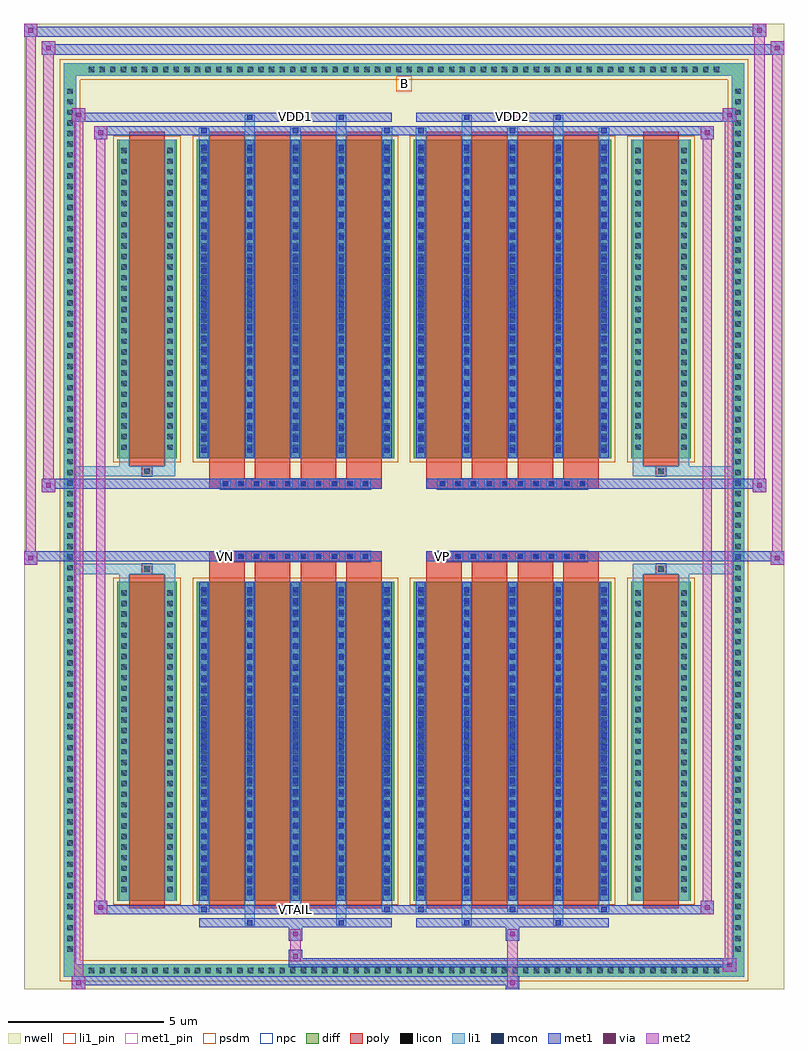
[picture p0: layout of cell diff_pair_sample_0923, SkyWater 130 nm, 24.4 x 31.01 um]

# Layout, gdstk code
import gdstk
lib = gdstk.Library(unit=1e-6, precision=5e-09)
def R(c, l, rs):  # rectangles x0, y0, x1, y1
    for r in rs: c.add(gdstk.rectangle(r[:2], r[2:], *l))
def A(c, l, x, y, w, h, nx, ny, dx, dy):  # array of equal rectangles
    R(c, l, [(x+i*dx, y+j*dy, x+i*dx+w, y+j*dy+h) for i in range(nx) for j in range(ny)])
def P(c, l, *ps):  # polygons
    for p in ps: c.add(gdstk.Polygon(p, *l))
nwell = (64, 20)
diff = (65, 20)
poly = (66, 20)
licon = (66, 44)
li1_pin = (67, 16)
li1 = (67, 20)
mcon = (67, 44)
met1_pin = (68, 16)
met1 = (68, 20)
via = (68, 44)
met2 = (69, 20)
psdm = (94, 20)
npc = (95, 20)

diff_pair_sample_0923 = lib.new_cell('diff_pair_sample_0923')
R(diff_pair_sample_0923, nwell, [(-12.2,-15.07,12.2,15.94), (-9.52,-13.26,-0.01,-0.8), (0.01,-13.26,9.52,-0.8), (-9.52,0.8,-0.01,13.26), (0.01,0.8,9.52,13.26)])
A(diff_pair_sample_0923, diff, -10.235, -14.67, 0.41, 0.41, 60, 2, 0.34, 28.93)
A(diff_pair_sample_0923, diff, -10.93, -13.975, 0.41, 0.41, 1, 82, 0, 0.34)
A(diff_pair_sample_0923, diff, 10.52, -13.975, 0.41, 0.41, 1, 82, 0, 0.34)
R(diff_pair_sample_0923, diff, [(-10.235,-14.67,10.235,-14.26), (-10.93,-13.975,-10.52,13.975), (10.52,-13.975,10.93,13.975), (-9.21,-12.215,-7.29,-1.985), (-6.65,-12.215,-0.32,-1.985), (0.32,-12.215,6.65,-1.985), (7.29,-12.215,9.21,-1.985), (-9.21,1.985,-7.29,12.215), (-6.65,1.985,-0.32,12.215), (0.32,1.985,6.65,12.215), (7.29,1.985,9.21,12.215), (-10.235,14.26,10.235,14.67)])
P(diff_pair_sample_0923, diff, [(10.93,14.67),(-10.93,14.67),(-10.93,-14.26),(-10.52,-14.26),(-10.52,14.26),(10.52,14.26),(10.52,-14.26),(-10.52,-14.26),(-10.93,-14.26),(-10.93,-14.67),(10.93,-14.67)])
A(diff_pair_sample_0923, poly, -6.26, -12.465, 1.14, 10.73, 4, 2, 1.47, 14.2)
A(diff_pair_sample_0923, poly, 0.71, -12.465, 1.14, 10.73, 4, 2, 1.47, 14.2)
A(diff_pair_sample_0923, poly, -6.26, -1.735, 1.14, 0.405, 4, 2, 1.47, 3.065)
A(diff_pair_sample_0923, poly, 0.71, -1.735, 1.14, 0.405, 4, 2, 1.47, 3.065)
A(diff_pair_sample_0923, poly, -5.9, -1.33, 0.33, 0.33, 10, 2, 0.5, 2.33)
A(diff_pair_sample_0923, poly, 1.07, -1.33, 0.33, 0.33, 10, 2, 0.5, 2.33)
R(diff_pair_sample_0923, poly, [(-8.82,-12.465,-7.68,-1.735), (7.68,-12.465,8.82,-1.735), (-8.415,-1.735,-8.085,-1.405), (-8.415,-1.735,-8.085,-1.405), (8.085,-1.735,8.415,-1.405), (8.085,-1.735,8.415,-1.405), (-6.26,-1.33,-0.71,-1), (0.71,-1.33,6.26,-1), (-6.26,1,-0.71,1.33), (0.71,1,6.26,1.33), (-8.415,1.405,-8.085,1.735), (-8.415,1.405,-8.085,1.735), (8.085,1.405,8.415,1.735), (8.085,1.405,8.415,1.735), (-8.82,1.735,-7.68,12.465), (7.68,1.735,8.82,12.465)])
A(diff_pair_sample_0923, licon, -10.115, -14.55, 0.17, 0.17, 60, 2, 0.34, 28.93)
A(diff_pair_sample_0923, licon, -10.81, -13.855, 0.17, 0.17, 1, 82, 0, 0.34)
A(diff_pair_sample_0923, licon, 10.64, -13.855, 0.17, 0.17, 1, 82, 0, 0.34)
A(diff_pair_sample_0923, licon, -9.07, -11.945, 0.17, 0.17, 1, 29, 0, 0.34)
A(diff_pair_sample_0923, licon, -7.6, -11.945, 0.17, 0.17, 1, 29, 0, 0.34)
A(diff_pair_sample_0923, licon, -6.51, -11.945, 0.17, 0.17, 5, 29, 1.47, 0.34)
A(diff_pair_sample_0923, licon, 0.46, -11.945, 0.17, 0.17, 5, 29, 1.47, 0.34)
A(diff_pair_sample_0923, licon, 7.43, -11.945, 0.17, 0.17, 1, 29, 0, 0.34)
A(diff_pair_sample_0923, licon, 8.9, -11.945, 0.17, 0.17, 1, 29, 0, 0.34)
A(diff_pair_sample_0923, licon, -5.82, -1.25, 0.17, 0.17, 10, 2, 0.5, 2.33)
A(diff_pair_sample_0923, licon, 1.15, -1.25, 0.17, 0.17, 10, 2, 0.5, 2.33)
A(diff_pair_sample_0923, licon, -9.07, 2.255, 0.17, 0.17, 1, 29, 0, 0.34)
A(diff_pair_sample_0923, licon, -7.6, 2.255, 0.17, 0.17, 1, 29, 0, 0.34)
A(diff_pair_sample_0923, licon, -6.51, 2.255, 0.17, 0.17, 5, 29, 1.47, 0.34)
A(diff_pair_sample_0923, licon, 0.46, 2.255, 0.17, 0.17, 5, 29, 1.47, 0.34)
A(diff_pair_sample_0923, licon, 7.43, 2.255, 0.17, 0.17, 1, 29, 0, 0.34)
A(diff_pair_sample_0923, licon, 8.9, 2.255, 0.17, 0.17, 1, 29, 0, 0.34)
R(diff_pair_sample_0923, licon, [(-8.335,-1.655,-8.165,-1.485), (8.165,-1.655,8.335,-1.485), (-8.335,1.485,-8.165,1.655), (8.165,1.485,8.335,1.655)])
R(diff_pair_sample_0923, li1_pin, [(-0.25,13.76,0.25,14.26)])
A(diff_pair_sample_0923, li1, -10.195, -14.63, 0.33, 0.33, 60, 2, 0.34, 28.93)
A(diff_pair_sample_0923, li1, -10.89, -13.935, 0.33, 0.33, 1, 82, 0, 0.34)
A(diff_pair_sample_0923, li1, 10.56, -13.935, 0.33, 0.33, 1, 82, 0, 0.34)
A(diff_pair_sample_0923, li1, -6.59, -12.59, 0.33, 0.375, 3, 2, 2.94, 24.805)
A(diff_pair_sample_0923, li1, -6.51, -12.59, 0.17, 0.17, 3, 2, 2.94, 25.01)
A(diff_pair_sample_0923, li1, 0.38, -12.59, 0.33, 0.375, 3, 2, 2.94, 24.805)
A(diff_pair_sample_0923, li1, 0.46, -12.59, 0.17, 0.17, 3, 2, 2.94, 25.01)
A(diff_pair_sample_0923, li1, -6.59, -12.215, 0.33, 10.23, 5, 2, 1.47, 14.2)
A(diff_pair_sample_0923, li1, 0.38, -12.215, 0.33, 10.23, 5, 2, 1.47, 14.2)
A(diff_pair_sample_0923, li1, -6.51, -12.045, 0.17, 0.17, 5, 28, 1.47, 0.36)
A(diff_pair_sample_0923, li1, -6.51, -12.045, 0.17, 9.89, 5, 2, 1.47, 14.2)
A(diff_pair_sample_0923, li1, 0.46, -12.045, 0.17, 0.17, 5, 28, 1.47, 0.36)
A(diff_pair_sample_0923, li1, 0.46, -12.045, 0.17, 9.89, 5, 2, 1.47, 14.2)
A(diff_pair_sample_0923, li1, -9.15, -12.025, 0.33, 0.33, 1, 29, 0, 0.34)
A(diff_pair_sample_0923, li1, -7.68, -12.025, 0.33, 0.33, 1, 29, 0, 0.34)
A(diff_pair_sample_0923, li1, -6.59, -12.025, 0.33, 0.33, 5, 29, 1.47, 0.34)
A(diff_pair_sample_0923, li1, 0.38, -12.025, 0.33, 0.33, 5, 29, 1.47, 0.34)
A(diff_pair_sample_0923, li1, 7.35, -12.025, 0.33, 0.33, 1, 29, 0, 0.34)
A(diff_pair_sample_0923, li1, 8.82, -12.025, 0.33, 0.33, 1, 29, 0, 0.34)
A(diff_pair_sample_0923, li1, -5.9, -1.33, 0.33, 0.33, 10, 2, 0.5, 2.33)
A(diff_pair_sample_0923, li1, 1.07, -1.33, 0.33, 0.33, 10, 2, 0.5, 2.33)
A(diff_pair_sample_0923, li1, -6.51, 2.155, 0.17, 0.17, 5, 28, 1.47, 0.36)
A(diff_pair_sample_0923, li1, 0.46, 2.155, 0.17, 0.17, 5, 28, 1.47, 0.36)
A(diff_pair_sample_0923, li1, -9.15, 2.175, 0.33, 0.33, 1, 29, 0, 0.34)
A(diff_pair_sample_0923, li1, -7.68, 2.175, 0.33, 0.33, 1, 29, 0, 0.34)
A(diff_pair_sample_0923, li1, -6.59, 2.175, 0.33, 0.33, 5, 29, 1.47, 0.34)
A(diff_pair_sample_0923, li1, 0.38, 2.175, 0.33, 0.33, 5, 29, 1.47, 0.34)
A(diff_pair_sample_0923, li1, 7.35, 2.175, 0.33, 0.33, 1, 29, 0, 0.34)
A(diff_pair_sample_0923, li1, 8.82, 2.175, 0.33, 0.33, 1, 29, 0, 0.34)
R(diff_pair_sample_0923, li1, [(-10.93,-14.67,-10.52,-14.26), (-10.93,-14.67,-10.52,-14.26), (-10.52,-14.67,10.52,-14.26), (10.52,-14.67,10.93,-14.26), (10.52,-14.67,10.93,-14.26), (-10.93,-14.26,-10.52,14.26), (10.52,-14.26,10.93,14.26), (-5.12,-13.02,-4.79,-12.215), (-5.04,-13.02,-4.87,-12.85), (-2.18,-13.02,-1.85,-12.215), (-2.1,-13.02,-1.93,-12.85), (1.85,-13.02,2.18,-12.215), (1.93,-13.02,2.1,-12.85), (4.79,-13.02,5.12,-12.215), (4.87,-13.02,5.04,-12.85), (-9.15,-12.215,-8.82,-1.985), (-7.68,-12.215,-7.35,-1.985), (7.35,-12.215,7.68,-1.985), (8.82,-12.215,9.15,-1.985), (-9.15,-1.985,-8.82,-1.405), (-7.68,-1.985,-7.35,-1.405), (7.35,-1.985,7.68,-1.405), (8.82,-1.985,9.15,-1.405), (-10.93,-1.735,-8.415,-1.405), (-9.15,-1.735,-8.415,-1.405), (-8.415,-1.735,-8.085,-1.405), (-8.085,-1.735,-7.35,-1.405), (7.35,-1.735,8.085,-1.405), (8.085,-1.735,8.415,-1.405), (8.085,-1.735,10.93,-1.405), (8.415,-1.735,9.15,-1.405), (-10.93,1.405,-8.415,1.735), (-9.15,1.405,-8.415,1.735), (-9.15,1.405,-8.82,1.985), (-8.415,1.405,-8.085,1.735), (-8.085,1.405,-7.35,1.735), (-7.68,1.405,-7.35,1.985), (7.35,1.405,8.085,1.735), (7.35,1.405,7.68,1.985), (8.085,1.405,8.415,1.735), (8.085,1.405,10.93,1.735), (8.415,1.405,9.15,1.735), (8.82,1.405,9.15,1.985), (-9.15,1.985,-8.82,12.215), (-7.68,1.985,-7.35,12.215), (7.35,1.985,7.68,12.215), (8.82,1.985,9.15,12.215), (-5.12,12.215,-4.79,13.02), (-2.18,12.215,-1.85,13.02), (1.85,12.215,2.18,13.02), (4.79,12.215,5.12,13.02), (-5.04,12.85,-4.87,13.02), (-2.1,12.85,-1.93,13.02), (1.93,12.85,2.1,13.02), (4.87,12.85,5.04,13.02), (-10.93,14.26,-10.52,14.67), (-10.93,14.26,-10.52,14.67), (-10.52,14.26,10.52,14.67), (10.52,14.26,10.93,14.67), (10.52,14.26,10.93,14.67)])
A(diff_pair_sample_0923, mcon, -6.51, -12.59, 0.17, 0.17, 3, 2, 2.94, 25.01)
A(diff_pair_sample_0923, mcon, 0.46, -12.59, 0.17, 0.17, 3, 2, 2.94, 25.01)
A(diff_pair_sample_0923, mcon, -6.51, -12.045, 0.17, 0.17, 5, 28, 1.47, 0.36)
A(diff_pair_sample_0923, mcon, 0.46, -12.045, 0.17, 0.17, 5, 28, 1.47, 0.36)
A(diff_pair_sample_0923, mcon, -5.82, -1.25, 0.17, 0.17, 10, 2, 0.5, 2.33)
A(diff_pair_sample_0923, mcon, 1.15, -1.25, 0.17, 0.17, 10, 2, 0.5, 2.33)
A(diff_pair_sample_0923, mcon, -6.51, 2.155, 0.17, 0.17, 5, 28, 1.47, 0.36)
A(diff_pair_sample_0923, mcon, 0.46, 2.155, 0.17, 0.17, 5, 28, 1.47, 0.36)
R(diff_pair_sample_0923, mcon, [(-5.04,-13.02,-4.87,-12.85), (-2.1,-13.02,-1.93,-12.85), (1.93,-13.02,2.1,-12.85), (4.87,-13.02,5.04,-12.85), (-5.04,12.85,-4.87,13.02), (-2.1,12.85,-1.93,13.02), (1.93,12.85,2.1,13.02), (4.87,12.85,5.04,13.02)])
R(diff_pair_sample_0923, met1_pin, [(-3.62,-12.63,-3.35,-12.36), (-5.87,-1.29,-5.6,-1.02), (1.1,-1.29,1.37,-1.02), (-3.62,12.81,-3.35,13.08), (3.35,12.81,3.62,13.08)])
A(diff_pair_sample_0923, met1, -6.57, -12.65, 0.29, 0.29, 3, 2, 2.94, 25.01)
A(diff_pair_sample_0923, met1, 0.4, -12.65, 0.29, 0.29, 3, 2, 2.94, 25.01)
A(diff_pair_sample_0923, met1, -6.57, -12.215, 0.29, 10.23, 5, 2, 1.47, 14.2)
A(diff_pair_sample_0923, met1, 0.4, -12.215, 0.29, 10.23, 5, 2, 1.47, 14.2)
A(diff_pair_sample_0923, met1, -6.57, -12.105, 0.29, 0.29, 5, 28, 1.47, 0.36)
A(diff_pair_sample_0923, met1, 0.4, -12.105, 0.29, 0.29, 5, 28, 1.47, 0.36)
A(diff_pair_sample_0923, met1, -5.88, -1.31, 0.29, 0.29, 10, 2, 0.5, 2.33)
A(diff_pair_sample_0923, met1, 1.09, -1.31, 0.29, 0.29, 10, 2, 0.5, 2.33)
A(diff_pair_sample_0923, met1, -6.57, 2.095, 0.29, 0.29, 5, 28, 1.47, 0.36)
A(diff_pair_sample_0923, met1, 0.4, 2.095, 0.29, 0.29, 5, 28, 1.47, 0.36)
R(diff_pair_sample_0923, met1, [(-10.66,-15.07,-10.23,-14.64), (3.27,-15.07,3.7,-14.64), (-10.66,-14.93,3.7,-14.64), (10.23,-14.5,10.66,-14.07), (-3.7,-14.36,10.66,-14.07), (-3.7,-14.22,-3.27,-13.79), (-3.7,-13.51,-3.27,-13.08), (3.27,-13.51,3.7,-13.08), (-6.57,-13.08,-0.4,-12.79), (-5.1,-13.08,-4.81,-12.79), (-2.16,-13.08,-1.87,-12.79), (0.4,-13.08,6.57,-12.79), (1.87,-13.08,2.16,-12.79), (4.81,-13.08,5.1,-12.79), (-9.95,-12.65,-9.52,-12.22), (-9.95,-12.65,-6.57,-12.36), (-6.57,-12.65,-0.4,-12.36), (-0.4,-12.65,0.4,-12.36), (0.4,-12.65,6.57,-12.36), (6.57,-12.65,9.95,-12.36), (9.52,-12.65,9.95,-12.22), (-12.2,-1.43,-11.77,-1), (11.77,-1.43,12.2,-1), (-12.2,-1.33,-0.71,-1), (-6.26,-1.33,-0.71,-1), (0.71,-1.33,6.26,-1), (0.71,-1.33,12.2,-1), (-11.63,0.9,-11.2,1.33), (11.2,0.9,11.63,1.33), (-11.63,1,-6.26,1.33), (-6.26,1,-0.71,1.33), (0.71,1,6.26,1.33), (6.26,1,11.63,1.33), (-9.95,12.22,-9.52,12.65), (9.52,12.22,9.95,12.65), (-9.95,12.36,-6.57,12.65), (-6.57,12.36,-0.4,12.65), (-0.4,12.36,0.4,12.65), (0.4,12.36,6.57,12.65), (6.57,12.36,9.95,12.65), (-10.66,12.79,-10.23,13.22), (-10.66,12.79,-6.57,13.08), (-6.57,12.79,-0.4,13.08), (-5.1,12.79,-4.81,13.08), (-2.16,12.79,-1.87,13.08), (0.4,12.79,6.57,13.08), (1.87,12.79,2.16,13.08), (4.81,12.79,5.1,13.08), (6.57,12.79,10.66,13.08), (10.23,12.79,10.66,13.22), (-11.63,14.94,-11.2,15.37), (-11.63,14.94,-9.52,15.27), (-9.52,14.94,9.52,15.27), (9.52,14.94,12.2,15.27), (11.77,14.94,12.2,15.37), (-12.2,15.51,-11.77,15.94), (-12.2,15.51,-9.52,15.84), (-9.52,15.51,9.52,15.84), (9.52,15.51,11.63,15.84), (11.2,15.51,11.63,15.94)])
R(diff_pair_sample_0923, via, [(-10.52,-14.93,-10.37,-14.78), (3.41,-14.93,3.56,-14.78), (10.37,-14.36,10.52,-14.21), (-3.56,-14.08,-3.41,-13.93), (-3.56,-13.37,-3.41,-13.22), (3.41,-13.37,3.56,-13.22), (-9.81,-12.51,-9.66,-12.36), (9.66,-12.51,9.81,-12.36), (-12.06,-1.29,-11.91,-1.14), (11.91,-1.29,12.06,-1.14), (-11.49,1.04,-11.34,1.19), (11.34,1.04,11.49,1.19), (-9.81,12.36,-9.66,12.51), (9.66,12.36,9.81,12.51), (-10.52,12.93,-10.37,13.08), (10.37,12.93,10.52,13.08), (-11.49,15.08,-11.34,15.23), (11.91,15.08,12.06,15.23), (-12.06,15.65,-11.91,15.8), (11.34,15.65,11.49,15.8)])
R(diff_pair_sample_0923, met2, [(-10.66,-15.07,-10.23,-14.64), (-10.59,-15.07,-10.3,13.22), (-10.3,-15.07,-10.23,-14.64), (-10.61,-15.02,-10.28,-14.69), (3.32,-15.02,3.65,-14.69), (3.32,-14.69,3.65,-13.46), (10.23,-14.5,10.66,-14.07), (10.3,-14.5,10.59,13.22), (10.59,-14.5,10.66,-14.07), (10.28,-14.45,10.61,-14.12), (-3.65,-14.17,-3.32,-13.84), (-3.65,-13.84,-3.32,-13.46), (-3.65,-13.46,-3.32,-13.13), (3.32,-13.46,3.65,-13.13), (-9.95,-12.65,-9.52,-12.22), (-9.88,-12.65,-9.59,12.65), (-9.59,-12.65,-9.52,-12.22), (9.52,-12.65,9.95,-12.22), (9.59,-12.65,9.88,12.65), (9.88,-12.65,9.95,-12.22), (-9.9,-12.6,-9.57,-12.27), (9.57,-12.6,9.9,-12.27), (-12.2,-1.43,-11.77,-1), (-12.15,-1.43,-11.82,15.94), (-11.82,-1.43,-11.77,-1), (11.77,-1.43,12.2,-1), (11.82,-1.43,12.15,15.37), (12.15,-1.43,12.2,-1), (-12.15,-1.38,-11.82,-1.05), (11.82,-1.38,12.15,-1.05), (-11.63,0.9,-11.2,1.33), (-11.58,0.9,-11.25,15.37), (-11.25,0.9,-11.2,1.33), (11.2,0.9,11.63,1.33), (11.25,0.9,11.58,15.94), (11.58,0.9,11.63,1.33), (-11.58,0.95,-11.25,1.28), (11.25,0.95,11.58,1.28), (-9.95,12.22,-9.52,12.65), (-9.59,12.22,-9.52,12.65), (9.52,12.22,9.95,12.65), (9.88,12.22,9.95,12.65), (-9.9,12.27,-9.57,12.6), (9.57,12.27,9.9,12.6), (-10.66,12.79,-10.23,13.22), (-10.3,12.79,-10.23,13.22), (10.23,12.79,10.66,13.22), (10.59,12.79,10.66,13.22), (-10.61,12.84,-10.28,13.17), (10.28,12.84,10.61,13.17), (-11.63,14.94,-11.2,15.37), (-11.25,14.94,-11.2,15.37), (11.77,14.94,12.2,15.37), (12.15,14.94,12.2,15.37), (-11.58,14.99,-11.25,15.32), (11.82,14.99,12.15,15.32), (-12.2,15.51,-11.77,15.94), (-11.82,15.51,-11.77,15.94), (11.2,15.51,11.63,15.94), (11.58,15.51,11.63,15.94), (-12.15,15.56,-11.82,15.89), (11.25,15.56,11.58,15.89)])
R(diff_pair_sample_0923, psdm, [(-9.34,-12.345,-7.16,-1.855), (-6.78,-12.345,-0.19,-1.855), (0.19,-12.345,6.78,-1.855), (7.16,-12.345,9.34,-1.855), (-9.34,1.855,-7.16,12.345), (-6.78,1.855,-0.19,12.345), (0.19,1.855,6.78,12.345), (7.16,1.855,9.34,12.345)])
P(diff_pair_sample_0923, psdm, [(11.06,14.8),(-11.06,14.8),(-11.06,-14.13),(-10.39,-14.13),(-10.39,14.13),(10.39,14.13),(10.39,-14.13),(-10.39,-14.13),(-11.06,-14.13),(-11.06,-14.8),(11.06,-14.8)])
A(diff_pair_sample_0923, npc, -5.92, -1.35, 0.37, 0.37, 10, 2, 0.5, 2.33)
A(diff_pair_sample_0923, npc, 1.05, -1.35, 0.37, 0.37, 10, 2, 0.5, 2.33)
R(diff_pair_sample_0923, npc, [(-8.435,-1.755,-8.065,-1.385), (8.065,-1.755,8.435,-1.385), (-5.92,-1.35,-5.05,-0.98), (-5.92,-1.35,-5.05,-0.98), (-5.42,-1.35,-4.55,-0.98), (-5.42,-1.35,-4.55,-0.98), (-4.92,-1.35,-4.05,-0.98), (-4.92,-1.35,-4.05,-0.98), (-4.42,-1.35,-3.55,-0.98), (-4.42,-1.35,-3.55,-0.98), (-3.92,-1.35,-3.05,-0.98), (-3.92,-1.35,-3.05,-0.98), (-3.42,-1.35,-2.55,-0.98), (-3.42,-1.35,-2.55,-0.98), (-2.92,-1.35,-2.05,-0.98), (-2.92,-1.35,-2.05,-0.98), (-2.42,-1.35,-1.55,-0.98), (-2.42,-1.35,-1.55,-0.98), (-1.92,-1.35,-1.05,-0.98), (-1.92,-1.35,-1.05,-0.98), (1.05,-1.35,1.92,-0.98), (1.05,-1.35,1.92,-0.98), (1.55,-1.35,2.42,-0.98), (1.55,-1.35,2.42,-0.98), (2.05,-1.35,2.92,-0.98), (2.05,-1.35,2.92,-0.98), (2.55,-1.35,3.42,-0.98), (2.55,-1.35,3.42,-0.98), (3.05,-1.35,3.92,-0.98), (3.05,-1.35,3.92,-0.98), (3.55,-1.35,4.42,-0.98), (3.55,-1.35,4.42,-0.98), (4.05,-1.35,4.92,-0.98), (4.05,-1.35,4.92,-0.98), (4.55,-1.35,5.42,-0.98), (4.55,-1.35,5.42,-0.98), (5.05,-1.35,5.92,-0.98), (5.05,-1.35,5.92,-0.98), (-5.92,0.98,-5.05,1.35), (-5.92,0.98,-5.05,1.35), (-5.42,0.98,-4.55,1.35), (-5.42,0.98,-4.55,1.35), (-4.92,0.98,-4.05,1.35), (-4.92,0.98,-4.05,1.35), (-4.42,0.98,-3.55,1.35), (-4.42,0.98,-3.55,1.35), (-3.92,0.98,-3.05,1.35), (-3.92,0.98,-3.05,1.35), (-3.42,0.98,-2.55,1.35), (-3.42,0.98,-2.55,1.35), (-2.92,0.98,-2.05,1.35), (-2.92,0.98,-2.05,1.35), (-2.42,0.98,-1.55,1.35), (-2.42,0.98,-1.55,1.35), (-1.92,0.98,-1.05,1.35), (-1.92,0.98,-1.05,1.35), (1.05,0.98,1.92,1.35), (1.05,0.98,1.92,1.35), (1.55,0.98,2.42,1.35), (1.55,0.98,2.42,1.35), (2.05,0.98,2.92,1.35), (2.05,0.98,2.92,1.35), (2.55,0.98,3.42,1.35), (2.55,0.98,3.42,1.35), (3.05,0.98,3.92,1.35), (3.05,0.98,3.92,1.35), (3.55,0.98,4.42,1.35), (3.55,0.98,4.42,1.35), (4.05,0.98,4.92,1.35), (4.05,0.98,4.92,1.35), (4.55,0.98,5.42,1.35), (4.55,0.98,5.42,1.35), (5.05,0.98,5.92,1.35), (5.05,0.98,5.92,1.35), (-8.435,1.385,-8.065,1.755), (8.065,1.385,8.435,1.755)])
diff_pair_sample_0923.add(gdstk.Label('VTAIL', (-3.485,-12.495), layer=68, texttype=5))
diff_pair_sample_0923.add(gdstk.Label('VN', (-5.735,-1.155), layer=68, texttype=5))
diff_pair_sample_0923.add(gdstk.Label('VP', (1.235,-1.155), layer=68, texttype=5))
diff_pair_sample_0923.add(gdstk.Label('B', (0,14.01), layer=67, texttype=5))
diff_pair_sample_0923.add(gdstk.Label('VDD2', (3.485,12.945), layer=68, texttype=5))
diff_pair_sample_0923.add(gdstk.Label('VDD1', (-3.485,12.945), layer=68, texttype=5))

lib.write_gds('diff_pair_sample_0923.gds')
